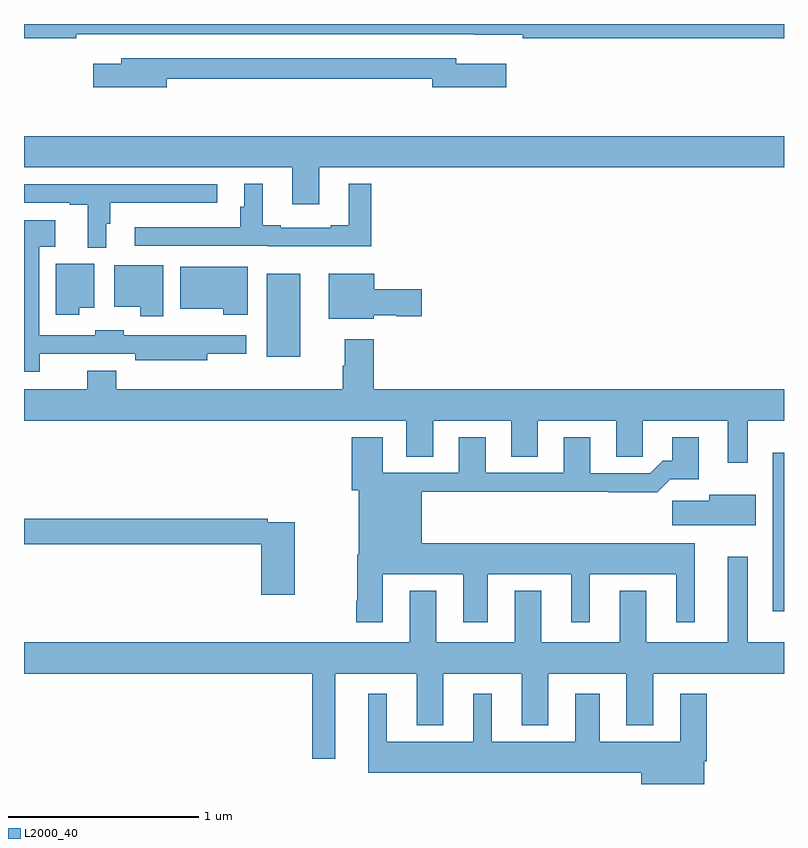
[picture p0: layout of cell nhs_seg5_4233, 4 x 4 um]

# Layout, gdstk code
import gdstk
lib = gdstk.Library(unit=1e-6, precision=1e-09)
def R(c, l, rs):  # rectangles x0, y0, x1, y1
    for r in rs: c.add(gdstk.rectangle(r[:2], r[2:], *l))
def P(c, l, *ps):  # polygons
    for p in ps: c.add(gdstk.Polygon(p, *l))
L2000_40 = (2000, 40)

nhs_seg5_4233 = lib.new_cell('nhs_seg5_4233')
R(nhs_seg5_4233, L2000_40, [(362.942,903.707,363,904.543), (360.278,905.048,360.454,905.485)])
P(nhs_seg5_4233, L2000_40, [(359.276,906.744),(361.372,906.744),(361.372,906.743),(361.624,906.743),(361.624,906.724),(363,906.724),(363,906.799),(359,906.799),(359,906.724),(359.276,906.724)],
  [(359.752,906.51),(361.148,906.51),(361.148,906.467),(361.537,906.467),(361.537,906.589),(361.276,906.589),(361.276,906.618),(359.513,906.618),(359.513,906.589),(359.364,906.589),(359.364,906.467),(359.752,906.467)],
  [(360.553,906.044),(363,906.044),(363,906.208),(359,906.208),(359,906.044),(360.413,906.044),(360.413,905.85),(360.553,905.85)],
  [(360.827,905.959),(360.71,905.959),(360.71,905.74),(360.614,905.74),(360.614,905.727),(360.352,905.727),(360.352,905.74),(360.256,905.74),(360.256,905.959),(360.158,905.959),(360.158,905.838),(360.139,905.838),(360.139,905.728),(359.583,905.728),(359.583,905.631),(360.282,905.631),(360.282,905.63),(360.827,905.63)],
  [(359.434,905.748),(359.453,905.748),(359.453,905.858),(360.016,905.858),(360.016,905.955),(359,905.955),(359,905.859),(359.24,905.859),(359.24,905.847),(359.336,905.847),(359.336,905.622),(359.434,905.622)],
  [(359.082,905.063),(359.276,905.063),(359.276,905.064),(359.585,905.064),(359.585,905.03),(359.965,905.03),(359.965,905.063),(360.169,905.063),(360.169,905.16),(359.861,905.16),(359.861,905.161),(359.526,905.161),(359.526,905.188),(359.376,905.188),(359.376,905.16),(359.079,905.16),(359.079,905.627),(359.164,905.627),(359.164,905.767),(359,905.767),(359,904.968),(359.082,904.968)],
  [(359.29,905.306),(359.371,905.306),(359.371,905.536),(359.168,905.536),(359.168,905.27),(359.29,905.27)],
  [(359.734,905.53),(359.474,905.53),(359.474,905.312),(359.612,905.312),(359.612,905.262),(359.734,905.262)],
  [(360.178,905.521),(359.822,905.521),(359.822,905.3),(360.049,905.3),(360.049,905.27),(360.178,905.27)],
  [(360.84,905.267),(360.96,905.267),(360.96,905.26),(361.093,905.26),(361.093,905.402),(360.844,905.402),(360.844,905.485),(360.605,905.485),(360.605,905.249),(360.84,905.249)],
  [(362.809,904.712),(363,904.712),(363,904.876),(360.842,904.876),(360.842,905.14),(360.689,905.14),(360.689,905),(360.677,905),(360.677,904.876),(359.486,904.876),(359.486,904.975),(359.333,904.975),(359.333,904.876),(359,904.876),(359,904.712),(361.013,904.712),(361.013,904.522),(361.153,904.522),(361.153,904.712),(361.565,904.712),(361.565,904.522),(361.705,904.522),(361.705,904.712),(362.117,904.712),(362.117,904.522),(362.256,904.522),(362.256,904.712),(362.705,904.712),(362.705,904.491),(362.809,904.491)],
  [(360.889,903.902),(361.313,903.902),(361.313,903.651),(361.441,903.651),(361.441,903.902),(361.88,903.902),(361.88,903.651),(361.978,903.651),(361.978,903.902),(362.432,903.902),(362.432,903.651),(362.53,903.651),(362.53,904.066),(361.093,904.066),(361.093,904.336),(362.077,904.336),(362.077,904.334),(362.333,904.334),(362.402,904.403),(362.551,904.403),(362.551,904.624),(362.411,904.624),(362.411,904.501),(362.362,904.501),(362.295,904.434),(361.981,904.434),(361.981,904.624),(361.841,904.624),(361.841,904.437),(361.429,904.437),(361.429,904.624),(361.289,904.624),(361.289,904.437),(360.889,904.437),(360.889,904.624),(360.725,904.624),(360.725,904.344),(360.761,904.344),(360.761,904.006),(360.754,904.006),(360.754,903.763),(360.749,903.763),(360.749,903.651),(360.889,903.651)],
  [(362.851,904.321),(362.606,904.321),(362.606,904.289),(362.412,904.289),(362.412,904.16),(362.851,904.16)],
  [(360.426,904.176),(360.284,904.176),(360.284,904.196),(359,904.196),(359,904.06),(360.248,904.06),(360.248,903.795),(360.426,903.795)],
  [(360.637,903.38),(361.067,903.38),(361.067,903.107),(361.207,903.107),(361.207,903.38),(361.619,903.38),(361.619,903.107),(361.759,903.107),(361.759,903.38),(362.171,903.38),(362.171,903.107),(362.311,903.107),(362.311,903.38),(363,903.38),(363,903.544),(362.809,903.544),(362.809,903.994),(362.705,903.994),(362.705,903.544),(362.275,903.544),(362.275,903.817),(362.135,903.817),(362.135,903.544),(361.723,903.544),(361.723,903.817),(361.583,903.817),(361.583,903.544),(361.171,903.544),(361.171,903.817),(361.031,903.817),(361.031,903.544),(359,903.544),(359,903.38),(360.516,903.38),(360.516,902.931),(360.637,902.931)],
  [(362.581,902.918),(362.594,902.918),(362.594,903.274),(362.453,903.274),(362.453,903.022),(362.029,903.022),(362.029,903.274),(361.901,903.274),(361.901,903.022),(361.462,903.022),(361.462,903.274),(361.364,903.274),(361.364,903.022),(360.91,903.022),(360.91,903.274),(360.812,903.274),(360.812,902.858),(362.249,902.858),(362.249,902.799),(362.581,902.799)])

lib.write_gds('nhs_seg5_4233.gds')
